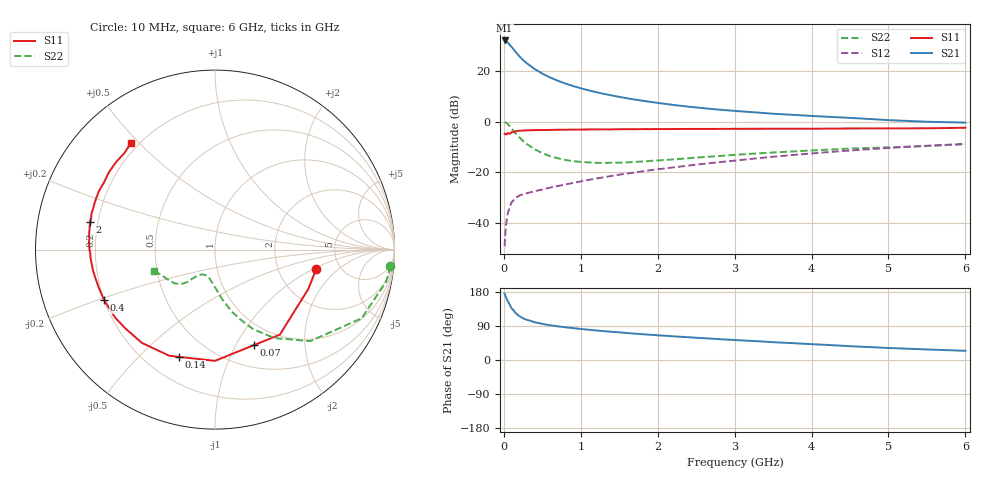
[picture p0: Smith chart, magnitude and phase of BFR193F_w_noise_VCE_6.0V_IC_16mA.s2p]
! Infineon Technologies  Discrete & RF Semiconductors
! BFR193F
! VCE =  6.0 V,  IC =  16 mA
! Common Emitter S-Parameters:  Jan 2017
# GHz  S  MA  R  50
!  f  S11  S21  S12  S22
! GHz  MAG  ANG  MAG  ANG  MAG  ANG  MAG  ANG
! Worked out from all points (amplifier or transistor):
!   77 points, 10 MHz to 6 GHz, reference 50 ohm
!   highest |S21| = 32.2 dB at 10 MHz (marker M1)
!   |S21| within 3 dB of that: start of sweep to 113.1 MHz
!   unconditionally stable (mu >= 1): 1.39 GHz to 2.78 GHz
!   at 130 MHz: K = 0.25, MSG = 29.8 dB, |S12| = -31.0 dB
!   at 2.2 GHz: K = 1.03, MAG = 11.3 dB, |S12| = -18.2 dB
!   at 6 GHz: K = 0.83, MSG = 4.2 dB, |S12| = -8.8 dB
!   lowest NFmin = 0.97 dB at 450 MHz
!   S11 on the Smith chart (normalised r, x): 10 MHz: 3.32, -1.07; 70 MHz: 0.75, -1.19; 140 MHz: 0.33, -0.66; 400 MHz: 0.20, -0.21; 2 GHz: 0.17, +0.11; 6 GHz: 0.17, +0.47
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0.01  0.5741 -10.9  40.61 175.0  0.0034 85.3  0.9817 -5.4
0.02  0.5645 -22.8  39.9 169.4  0.0064 78.7  0.9713 -10.5
0.05  0.5959 -52.7  37.19 155.2  0.0149 71.6  0.9024 -25.1
0.07  0.5747 -67.9  34.08 148.6  0.0188 63.2  0.8259 -31.7
0.1  0.6198 -90.0  30.45 136.5  0.0251 55.7  0.7366 -43.8
0.14  0.6309 -108.8  25.5 127.3  0.0292 49.5  0.6198 -53.2
0.15  0.6439 -113.3  24.39 124.4  0.0303 48.2  0.5938 -56.1
0.2  0.6604 -128.1  19.93 116.0  0.0342 45.4  0.4917 -64.4
0.25  0.6649 -138.6  16.63 110.1  0.0365 43.5  0.4119 -70.2
0.3  0.6732 -145.7  14.27 105.9  0.0381 43.3  0.3582 -74.8
0.4  0.6786 -155.6  11 99.5  0.0417 44.4  0.2832 -81.4
0.5  0.6816 -162.0  8.929 95.3  0.0452 46.7  0.2371 -86.1
0.7  0.6901 -170.6  6.477 88.9  0.0529 52.0  0.1881 -94.0
0.9  0.6951 -176.2  5.073 84.1  0.061 56.0  0.1641 -100.6
1.1  0.6995 179.9  4.175 79.9  0.0699 59.7  0.1556 -106.2
1.5  0.7056 173.6  3.095 72.9  0.0887 64.0  0.1541 -115.5
2  0.7124 167.4  2.349 65.3  0.1135 67.6  0.1702 -122.9
2.1  0.7125 166.4  2.245 64.0  0.1186 68.0  0.1743 -123.7
3.1  0.7203 157.2  1.591 51.7  0.1749 69.9  0.2244 -129.3
4.1  0.7243 147.8  1.274 40.8  0.2407 68.2  0.2724 -135.5
5.1  0.7358 137.3  1.055 31.0  0.3068 63.6  0.3129 -148.4
6  0.7559 128.5  0.957 24.3  0.3615 58.5  0.3575 -160.9
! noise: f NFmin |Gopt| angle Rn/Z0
0.45  0.97  0.28  157  0.06
0.9  1.06  0.38  161  0.06
1.9  1.7  0.58  -173  0.06
2.4  2  0.61  -163  0.09
